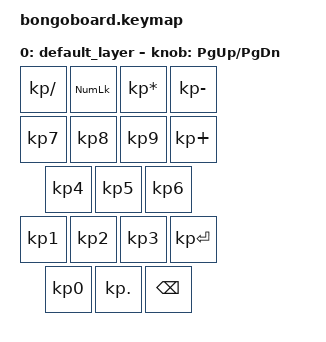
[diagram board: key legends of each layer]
// This file was generated from a template. Edit it to match your keyboard.
// See https://zmk.dev/docs/development/hardware-integration/new-shield for more instructions.

#include <behaviors.dtsi>
#include <dt-bindings/zmk/keys.h>

/ {
    // Define a default keymap here.
    // See https://zmk.dev/docs/development/hardware-integration/new-shield#default-keymap.
    keymap {
        compatible = "zmk,keymap";

        default_layer {
            bindings = <
                &kp KP_DIVIDE   &kp KP_NUM &kp KP_MULTIPLY &kp KP_MINUS
                
                // Row 1: 7, 8, 9, and the top half of the 2U Numpad Plus
                &kp KP_N7    &kp KP_N8      &kp KP_N9       &kp KP_PLUS
                
                // Row 2: 4, 5, 6 (Plus key continues down here)
                &kp KP_N4    &kp KP_N5      &kp KP_N6
                
                // Row 3: 1, 2, 3, and the top half of the 2U Numpad Enter
                &kp KP_N1    &kp KP_N2      &kp KP_N3       &kp KP_ENTER
                
                // Row 4: 0, Dot, Backspace (Enter key continues down here)
                &kp KP_N0    &kp KP_DOT     &kp BSPC
            >;
            sensor-bindings = <&inc_dec_kp PG_UP PG_DN>;
            
        };

        
    };
};
